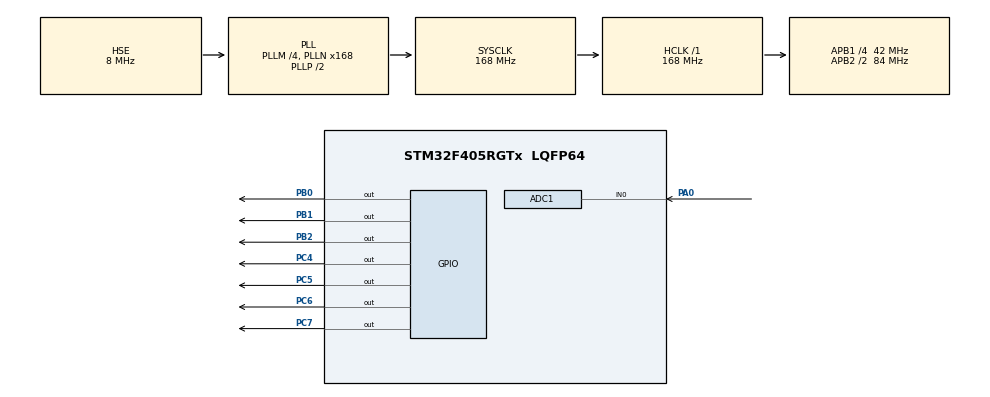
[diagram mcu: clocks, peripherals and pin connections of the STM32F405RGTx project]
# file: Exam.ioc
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ADC1.Channel-4\#ChannelRegularConversion=ADC_CHANNEL_0
ADC1.ContinuousConvMode=ENABLE
ADC1.DMAContinuousRequests=ENABLE
ADC1.NbrOfConversionFlag=1
ADC1.Rank-4\#ChannelRegularConversion=1
ADC1.SamplingTime-4\#ChannelRegularConversion=ADC_SAMPLETIME_3CYCLES
ADC1.master=1
Dma.ADC1.0.Direction=DMA_PERIPH_TO_MEMORY
Dma.ADC1.0.FIFOMode=DMA_FIFOMODE_DISABLE
Dma.ADC1.0.Instance=DMA2_Stream0
Dma.ADC1.0.MemDataAlignment=DMA_MDATAALIGN_HALFWORD
Dma.ADC1.0.MemInc=DMA_MINC_ENABLE
Dma.ADC1.0.Mode=DMA_CIRCULAR
Dma.ADC1.0.PeriphDataAlignment=DMA_PDATAALIGN_HALFWORD
Dma.ADC1.0.PeriphInc=DMA_PINC_DISABLE
Dma.ADC1.0.Priority=DMA_PRIORITY_LOW
Dma.Request0=ADC1
Mcu.Family=STM32F4
Mcu.Name=STM32F405RGTx
Mcu.Package=LQFP64
NVIC.DMA2_Stream0_IRQn=true\:0\:0\:false\:false\:true\:false\:true
NVIC.PriorityGroup=NVIC_PRIORITYGROUP_4
PA0-WKUP.Signal=ADCx_IN0
PA13.Mode=Serial_Wire
PA13.Signal=SYS_JTMS-SWDIO
PA14.Mode=Serial_Wire
PA14.Signal=SYS_JTCK-SWCLK
PB0.Signal=GPIO_Output
PB1.Signal=GPIO_Output
PB2.Signal=GPIO_Output
PC4.Signal=GPIO_Output
PC5.Signal=GPIO_Output
PC6.Signal=GPIO_Output
PC7.Signal=GPIO_Output
PH0-OSC_IN.Mode=HSE-External-Oscillator
PH0-OSC_IN.Signal=RCC_OSC_IN
PH1-OSC_OUT.Mode=HSE-External-Oscillator
PH1-OSC_OUT.Signal=RCC_OSC_OUT
ProjectManager.HeapSize=0x200
ProjectManager.StackSize=0x400
ProjectManager.TargetToolchain=EWARM V8.32
RCC.48MHZClocksFreq_Value=84000000
RCC.AHBFreq_Value=168000000
RCC.APB1CLKDivider=RCC_HCLK_DIV4
RCC.APB1Freq_Value=42000000
RCC.APB1TimFreq_Value=84000000
RCC.APB2CLKDivider=RCC_HCLK_DIV2
RCC.APB2Freq_Value=84000000
RCC.APB2TimFreq_Value=168000000
RCC.CortexFreq_Value=168000000
RCC.HCLKFreq_Value=168000000
RCC.HSE_VALUE=8000000
RCC.HSI_VALUE=16000000
RCC.LSE_VALUE=32768
RCC.PLLM=4
RCC.PLLN=168
RCC.PLLSourceVirtual=RCC_PLLSOURCE_HSE
RCC.SYSCLKFreq_VALUE=168000000
RCC.SYSCLKSource=RCC_SYSCLKSOURCE_PLLCLK
RCC.VCOOutputFreq_Value=336000000
SH.ADCx_IN0.0=ADC1_IN0,IN0
board=custom

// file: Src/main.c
/* USER CODE BEGIN Header */
/**
******************************************************************************
* @file           : main.c
* @brief          : Main program body
******************************************************************************
* @attention
*
* <h2><center>&copy; Copyright (c) 2020 STMicroelectronics.
* All rights reserved.</center></h2>
*
* This software component is licensed by ST under BSD 3-Clause license,
* the "License"; You may not use this file except in compliance with the
* License. You may obtain a copy of the License at:
*                        opensource.org/licenses/BSD-3-Clause
*
******************************************************************************
*/
/* USER CODE END Header */

#include "main.h"
#include "adc.h"
#include "dma.h"
#include "gpio.h"

/* USER CODE BEGIN Includes */
#include "lcd.h"
#include "stdio.h"
/* USER CODE END Includes */

/* USER CODE BEGIN PV */
uint8_t pwmcnt=0;
uint16_t adcData=0;
char str[16];
/* USER CODE END PV */

void SystemClock_Config(void);
/* USER CODE BEGIN PFP */

void LED()
{
  TIM2->CCR1=pwmcnt;
  pwmcnt++;
  if(pwmcnt==99) pwmcnt=0;
  HAL_Delay(5);

}

/* USER CODE END PFP */

int main(void)
{

  /* MCU Configuration--------------------------------------------------------*/

  /* Reset of all peripherals, Initializes the Flash interface and the Systick. */
  HAL_Init();

  /* Configure the system clock */
  SystemClock_Config();

  /* Initialize all configured peripherals */
  MX_GPIO_Init();
  MX_DMA_Init();
  MX_ADC1_Init();
  /* USER CODE BEGIN 2 */
  lcdInit();
  //HAL_TIM_PWM_Start(&htim2,TIM_CHANNEL_1);
  HAL_ADC_Start_DMA(&hadc1,(uint32_t*)&adcData,sizeof(adcData));
  /* USER CODE END 2 */

  /* Infinite loop */
  /* USER CODE BEGIN WHILE */

  while (1)
  {
    // LED();
    lcdClear();
    lcdGotoXY(0,0);
    lcdPrintData("ADC - DMA_Mode",14);
    sprintf(str,"Cds : %d",adcData);

    lcdGotoXY(0,1);
    lcdPrint(str);
    HAL_Delay(100);

    /* USER CODE END WHILE */

  }
}

void SystemClock_Config(void)
{
  RCC_OscInitTypeDef RCC_OscInitStruct = {0};
  RCC_ClkInitTypeDef RCC_ClkInitStruct = {0};

  /** Configure the main internal regulator output voltage
  */
  __HAL_RCC_PWR_CLK_ENABLE();
  __HAL_PWR_VOLTAGESCALING_CONFIG(PWR_REGULATOR_VOLTAGE_SCALE1);
  /** Initializes the CPU, AHB and APB busses clocks
  */
  RCC_OscInitStruct.OscillatorType = RCC_OSCILLATORTYPE_HSE;
  RCC_OscInitStruct.HSEState = RCC_HSE_ON;
  RCC_OscInitStruct.PLL.PLLState = RCC_PLL_ON;
  RCC_OscInitStruct.PLL.PLLSource = RCC_PLLSOURCE_HSE;
  RCC_OscInitStruct.PLL.PLLM = 4;
  RCC_OscInitStruct.PLL.PLLN = 168;
  RCC_OscInitStruct.PLL.PLLP = RCC_PLLP_DIV2;
  RCC_OscInitStruct.PLL.PLLQ = 4;
  if (HAL_RCC_OscConfig(&RCC_OscInitStruct) != HAL_OK)
  {
    Error_Handler();
  }
  /** Initializes the CPU, AHB and APB busses clocks
  */
  RCC_ClkInitStruct.ClockType = RCC_CLOCKTYPE_HCLK|RCC_CLOCKTYPE_SYSCLK
    |RCC_CLOCKTYPE_PCLK1|RCC_CLOCKTYPE_PCLK2;
  RCC_ClkInitStruct.SYSCLKSource = RCC_SYSCLKSOURCE_PLLCLK;
  RCC_ClkInitStruct.AHBCLKDivider = RCC_SYSCLK_DIV1;
  RCC_ClkInitStruct.APB1CLKDivider = RCC_HCLK_DIV4;
  RCC_ClkInitStruct.APB2CLKDivider = RCC_HCLK_DIV2;

  if (HAL_RCC_ClockConfig(&RCC_ClkInitStruct, FLASH_LATENCY_5) != HAL_OK)
  {
    Error_Handler();
  }
}

void Error_Handler(void)
{
}

/************************ (C) COPYRIGHT STMicroelectronics *****END OF FILE****/
